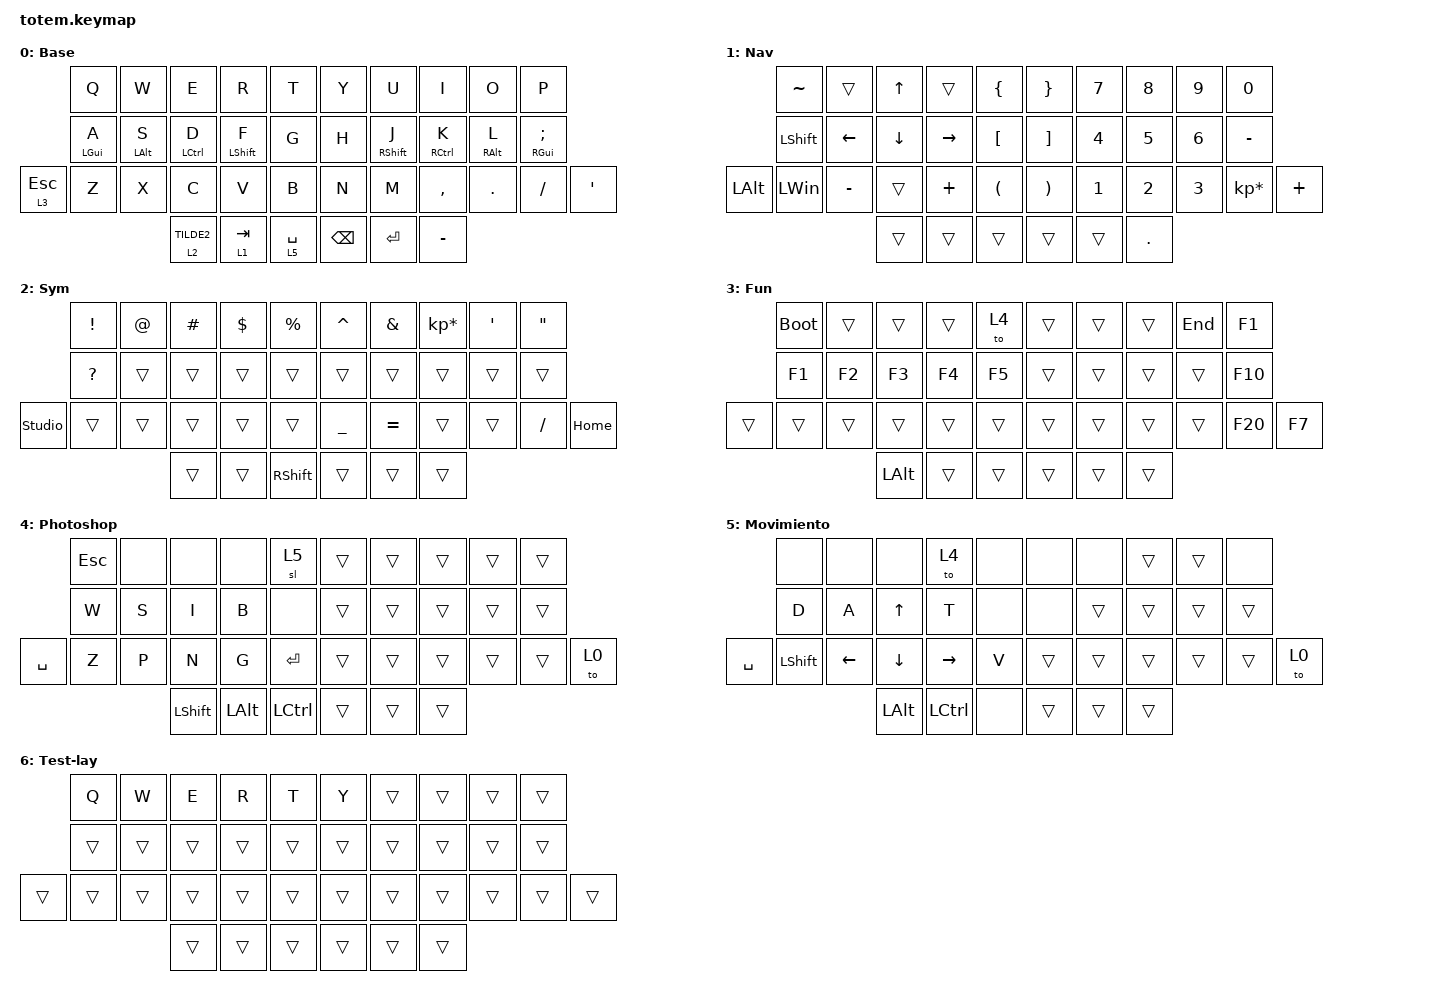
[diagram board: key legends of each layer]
//
//                                                        ▀▀▀▀▀     ▀▀▀▀▀          ▀▀█▀▀
//                                                        ▄▀▀▀▄  ▄  ▄▀▀▀▄  ▄  ▄▀▀▀▄  █  ▄▀▀▀▄
//                                                        █   █  █  █   █  █  █   █  █  █   █
//                                                         ▀▀▀   █   ▀▀▀   █   ▀▀▀   ▀   ▀▀▀
//                                                               █      ▄▄▄█▄▄▄    █   █  
//                                                               ▀      █  █  █     █▄█
//                                                             ▀▀▀▀▀    █  █  █      ▀
//                                                                      ▀  ▀  ▀
//
// ▄▄▄▄▄▄▄▄▄▄▄▄▄▄▄▄▄▄▄▄▄▄▄▄▄▄▄▄▄▄▄▄▄▄▄▄▄▄▄▄▄▄▄▄▄▄▄▄▄▄▄▄▄▄▄▄▄▄▄▄▄▄▄▄▄▄▄▄▄▄▄▄▄▄▄▄▄▄▄▄▄▄▄▄▄▄▄▄▄▄▄▄▄▄▄▄▄▄▄▄▄▄▄▄▄▄▄▄▄▄▄▄▄▄▄▄▄▄▄▄▄▄▄▄▄▄▄▄▄▄▄▄▄▄▄▄▄▄▄▄▄▄▄▄▄▄▄▄▄

#include <behaviors.dtsi>
#include <dt-bindings/zmk/keys.h>

#define Base        0
#define Nav         1
#define Sym         2
#define Fun         3
#define Game        4
#define Gameplus    5

&mt {
    quick-tap-ms = <100>;
    global-quick-tap;
    flavor = "tap-preferred";
    tapping-term-ms = <170>;
};

&lt {
    tapping-term-ms = <240>;
    flavor = "balanced";
    quick-tap-ms = <150>;
};

/ {
    behaviors {
        hm: homerow_mods {
            compatible = "zmk,behavior-hold-tap";
            label = "HOMEROW_MODS";
            #binding-cells = <2>;
            flavor = "tap-preferred";
            tapping-term-ms = <200>;
            quick-tap-ms = <125>;
            global-quick-tap;
            bindings = <&kp>, <&kp>;
        };
    };

    combos {
        compatible = "zmk,combos";

        Actualizar {
            bindings = <&kp F5>;
            key-positions = <16 17 18>;
        };

        dobleio {
            bindings = <&kp DOUBLE_QUOTES>;
            key-positions = <27 28>;
        };

        guionb {
            bindings = <&kp UNDER>;
            key-positions = <23 24>;
        };
    };

    keymap {
        compatible = "zmk,keymap";

        Base {
            display-name = "Base";
            bindings = <
              &kp Q       &kp W       &kp E         &kp R         &kp T          &kp Y          &kp U        &kp I        &kp O       &kp P
              &hm LGUI A  &hm LALT S  &hm LCTRL D   &hm LSHIFT F  &kp G          &kp H          &hm RSHFT J  &hm RCTRL K  &hm RALT L  &hm RGUI SEMICOLON
&lt 3 ESCAPE  &kp Z       &kp X       &kp C         &kp V         &kp B          &kp N          &kp M        &kp COMMA    &kp DOT     &kp SLASH           &kp APOSTROPHE
                                      &lt 2 TILDE2  &lt 1 TAB     &lt 5 SPACE    &kp BACKSPACE  &kp ENTER    &kp MINUS
            >;
        };

        Nav {
            display-name = "Nav";
            bindings = <
              &kp TILDE       &trans     &kp UP_ARROW  &trans     &kp LBRC    &kp RBRC  &kp NUMBER_7  &kp NUMBER_8  &kp NUMBER_9  &kp NUMBER_0
              &kp LEFT_SHIFT  &kp LEFT   &kp DOWN      &kp RIGHT  &kp LBKT    &kp RBKT  &kp NUMBER_4  &kp NUMBER_5  &kp NUMBER_6  &kp MINUS
&kp LEFT_ALT  &kp LEFT_WIN    &kp MINUS  &trans        &kp PLUS   &kp LPAR    &kp RPAR  &kp NUMBER_1  &kp NUMBER_2  &kp NUMBER_3  &kp KP_MULTIPLY  &kp PLUS
                                         &trans        &trans     &trans      &trans    &trans        &kp DOT
            >;
        };

        Sym {
            display-name = "Sym";
            bindings = <
                &kp EXCL      &kp AT  &kp HASH  &kp DOLLAR  &kp PERCENT        &kp CARET  &kp AMPERSAND  &kp KP_ASTERISK  &kp SQT  &kp DQT
                &kp QUESTION  &trans  &trans    &trans      &trans             &trans     &trans         &trans           &trans   &trans
&studio_unlock  &trans        &trans  &trans    &trans      &trans             &kp UNDER  &kp EQUAL      &trans           &trans   &kp SLASH  &kp HOME
                                      &trans    &trans      &kp RIGHT_SHIFT    &trans     &trans         &trans
            >;
        };

        Fun {
            display-name = "Fun";
            bindings = <
        &bootloader  &trans  &trans        &trans  &to 4     &trans  &trans  &trans  &kp END  &kp F1
        &kp F1       &kp F2  &kp F3        &kp F4  &kp F5    &trans  &trans  &trans  &trans   &kp F10
&trans  &trans       &trans  &trans        &trans  &trans    &trans  &trans  &trans  &trans   &kp F20  &kp F7
                             &kp LEFT_ALT  &trans  &trans    &trans  &trans  &trans
            >;
        };

        Photoshop {
            display-name = "Photoshop";
            bindings = <
           &kp ESC  &none  &none      &none     &sl 5        &trans  &trans  &trans  &trans  &trans
           &kp W    &kp S  &kp I      &kp B     &none        &trans  &trans  &trans  &trans  &trans
&kp SPACE  &kp Z    &kp P  &kp N      &kp G     &kp ENTER    &trans  &trans  &trans  &trans  &trans  &to 0
                           &kp LSHFT  &kp LALT  &kp LCTRL    &trans  &trans  &trans
            >;
        };

        Movimiento {
            display-name = "Movimiento";
            bindings = <
           &none      &none     &none         &to 4      &none    &none   &none   &trans  &trans  &none
           &kp D      &kp A     &kp UP_ARROW  &kp T      &none    &none   &trans  &trans  &trans  &trans
&kp SPACE  &kp LSHFT  &kp LEFT  &kp DOWN      &kp RIGHT  &kp V    &trans  &trans  &trans  &trans  &trans  &to 0
                                &kp LEFT_ALT  &kp LCTRL  &none    &trans  &trans  &trans
            >;
        };

        Test-lay {
            bindings = <
        &kp Q   &kp W   &kp E   &kp R   &kp T     &kp Y   &trans  &trans  &trans  &trans
        &trans  &trans  &trans  &trans  &trans    &trans  &trans  &trans  &trans  &trans
&trans  &trans  &trans  &trans  &trans  &trans    &trans  &trans  &trans  &trans  &trans  &trans
                        &trans  &trans  &trans    &trans  &trans  &trans
            >;

            label = "Test-lay";
        };
    };
};
